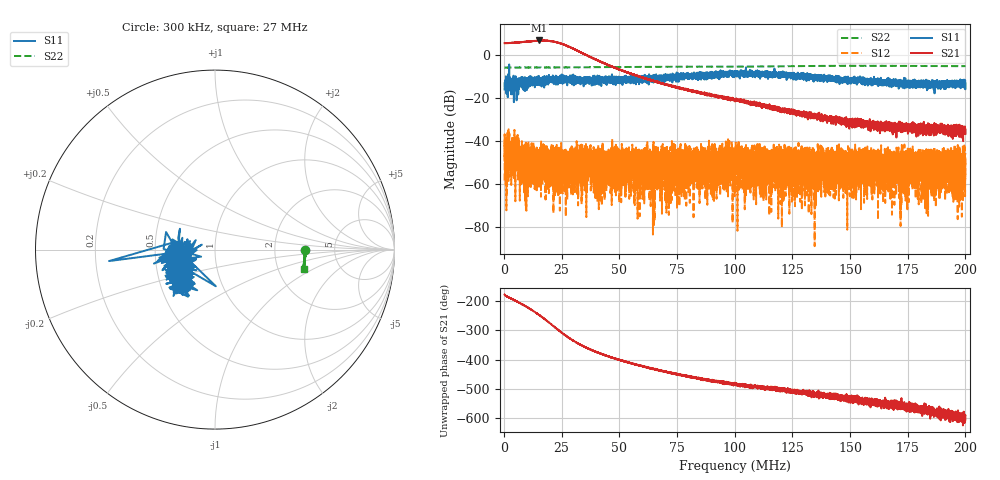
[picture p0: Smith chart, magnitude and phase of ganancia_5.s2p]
# Hz S DB R 50
! CMT, M5065, 19127446, 24.2.4/2
! Date: 11/8/2024 2:39:48 PM
! Data: Format (Calibration Info)
! Freq	S11:dB/Ang(F2)	S21:dB/Ang(F2)	S12:dB/Ang(F2)	S22:dB/Ang(F2)
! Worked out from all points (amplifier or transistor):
!   9000 points, 300 kHz to 200 MHz, reference 50 ohm
!   highest |S21| = 6.6 dB at 15.3 MHz (marker M1)
!   |S21| within 3 dB of that: start of sweep to 28.26 MHz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
!   unconditionally stable (mu >= 1): start of sweep to end of sweep
!   at 33.59 MHz: K = 38.23, MAG = 2.5 dB, |S12| = -41.8 dB
!   at 100.2 MHz: K = 1292.27, MAG = -19.0 dB, |S12| = -51.2 dB
!   at 200 MHz: K = 4610.67, MAG = -35.2 dB, |S12| = -45.7 dB
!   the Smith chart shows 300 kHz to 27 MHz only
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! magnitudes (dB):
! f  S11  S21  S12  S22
! 300 kHz  -16.3  5.3  -58.5  -6.0
! 1.321 MHz  -12.9  5.4  -45.8  -6.0
! 2.719 MHz  -14.0  5.4  -48.3  -6.0
! 8.355 MHz  -12.0  5.9  -48.8  -6.0
! 15.3 MHz  -10.5  6.6  -51.1  -6.0
! 33.59 MHz  -11.8  1.0  -41.8  -5.9
! 66.87 MHz  -11.8  -12.9  -45.0  -5.7
! 100.2 MHz  -9.6  -20.9  -51.2  -5.6
! 133.4 MHz  -11.0  -28.3  -45.6  -5.3
! 139.2 MHz  -11.0  -29.2  -50.0  -5.2
! 155 MHz  -11.9  -31.1  -51.2  -5.2
! 157.5 MHz  -11.8  -31.2  -50.6  -5.2
! 166.7 MHz  -13.1  -32.5  -49.0  -5.2
! 170.2 MHz  -12.9  -33.2  -54.9  -5.2
! 172.1 MHz  -12.9  -35.2  -60.0  -5.2
! 173.7 MHz  -14.0  -34.1  -58.9  -5.3
! 184.7 MHz  -14.2  -35.1  -53.4  -5.3
! 187.2 MHz  -14.5  -35.1  -70.9  -5.3
! 194.7 MHz  -13.6  -34.0  -45.1  -5.4
! 196.7 MHz  -13.5  -33.2  -50.0  -5.4
! 199 MHz  -13.9  -36.4  -47.2  -5.4
! 200 MHz  -13.4  -36.9  -45.7  -5.4
